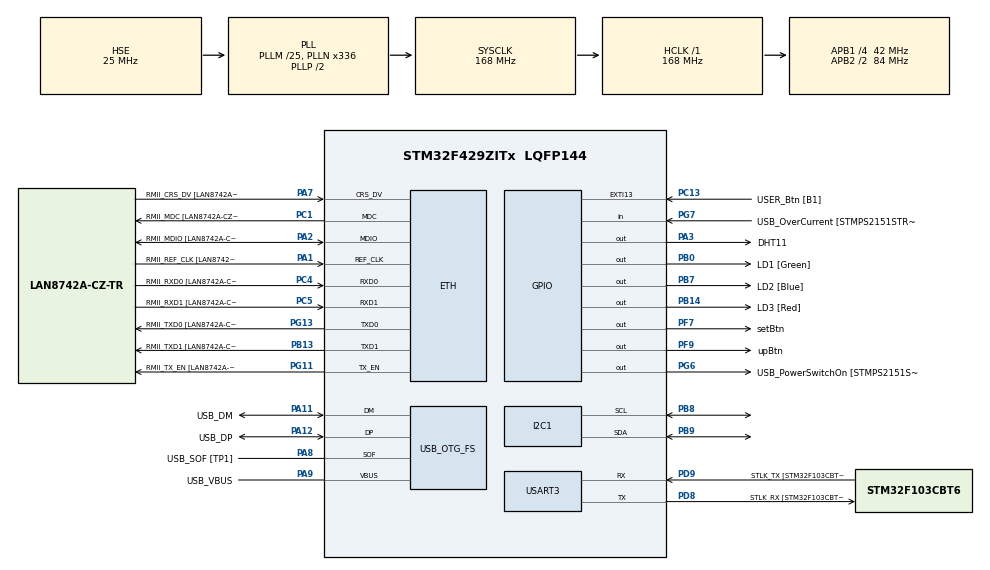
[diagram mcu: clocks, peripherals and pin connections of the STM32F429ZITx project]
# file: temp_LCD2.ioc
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ETH.MediaInterface=HAL_ETH_RMII_MODE
ETH.PHY_Name=LAN8742A_PHY_ADDRESS
ETH.PHY_Value=0
ETH.PhyAddress=0
Mcu.Family=STM32F4
Mcu.Name=STM32F429ZITx
Mcu.Package=LQFP144
NVIC.PriorityGroup=NVIC_PRIORITYGROUP_4
PA1.GPIO_Label=RMII_REF_CLK [LAN8742A-CZ-TR_REFCLK0]
PA1.Mode=RMII
PA1.Signal=ETH_REF_CLK
PA10.GPIO_Label=USB_ID
PA10.Signal=USB_OTG_FS_ID
PA11.GPIO_Label=USB_DM
PA11.Mode=Device_Only
PA11.Signal=USB_OTG_FS_DM
PA12.GPIO_Label=USB_DP
PA12.Mode=Device_Only
PA12.Signal=USB_OTG_FS_DP
PA13.GPIO_Label=TMS
PA13.Mode=Serial_Wire
PA13.Signal=SYS_JTMS-SWDIO
PA14.GPIO_Label=TCK
PA14.Mode=Serial_Wire
PA14.Signal=SYS_JTCK-SWCLK
PA2.GPIO_Label=RMII_MDIO [LAN8742A-CZ-TR_MDIO]
PA2.Mode=RMII
PA2.Signal=ETH_MDIO
PA3.GPIO_Label=DHT11
PA3.PinState=GPIO_PIN_RESET
PA3.Signal=GPIO_Output
PA7.GPIO_Label=RMII_CRS_DV [LAN8742A-CZ-TR_CRS_DV]
PA7.Mode=RMII
PA7.Signal=ETH_CRS_DV
PA8.GPIO_Label=USB_SOF [TP1]
PA8.Mode=Activate_SOF_FS
PA8.Signal=USB_OTG_FS_SOF
PA9.GPIO_Label=USB_VBUS
PA9.Mode=Activate_VBUS
PA9.Signal=USB_OTG_FS_VBUS
PB0.GPIO_Label=LD1 [Green]
PB0.Signal=GPIO_Output
PB13.GPIO_Label=RMII_TXD1 [LAN8742A-CZ-TR_TXD1]
PB13.Mode=RMII
PB13.Signal=ETH_TXD1
PB14.GPIO_Label=LD3 [Red]
PB14.Signal=GPIO_Output
PB7.GPIO_Label=LD2 [Blue]
PB7.Signal=GPIO_Output
PB8.Mode=I2C
PB8.Signal=I2C1_SCL
PB9.Mode=I2C
PB9.Signal=I2C1_SDA
PC1.GPIO_Label=RMII_MDC [LAN8742A-CZ-TR_MDC]
PC1.Mode=RMII
PC1.Signal=ETH_MDC
PC13.GPIO_Label=USER_Btn [B1]
PC13.Signal=GPXTI13
PC14/OSC32_IN.Mode=LSE-External-Oscillator
PC14/OSC32_IN.Signal=RCC_OSC32_IN
PC15/OSC32_OUT.Mode=LSE-External-Oscillator
PC15/OSC32_OUT.Signal=RCC_OSC32_OUT
PC4.GPIO_Label=RMII_RXD0 [LAN8742A-CZ-TR_RXD0]
PC4.Mode=RMII
PC4.Signal=ETH_RXD0
PC5.GPIO_Label=RMII_RXD1 [LAN8742A-CZ-TR_RXD1]
PC5.Mode=RMII
PC5.Signal=ETH_RXD1
PD8.GPIO_Label=STLK_RX [STM32F103CBT6_PA3]
PD8.Mode=Asynchronous
PD8.Signal=USART3_TX
PD9.GPIO_Label=STLK_TX [STM32F103CBT6_PA2]
PD9.Mode=Asynchronous
PD9.Signal=USART3_RX
PF7.GPIO_Label=setBtn
PF7.GPIO_PuPd=GPIO_PULLUP
PF7.Signal=GPIO_Output
PF9.GPIO_Label=upBtn
PF9.GPIO_PuPd=GPIO_PULLUP
PF9.Signal=GPIO_Output
PG11.GPIO_Label=RMII_TX_EN [LAN8742A-CZ-TR_TXEN]
PG11.Mode=RMII
PG11.Signal=ETH_TX_EN
PG13.GPIO_Label=RMII_TXD0 [LAN8742A-CZ-TR_TXD0]
PG13.Mode=RMII
PG13.Signal=ETH_TXD0
PG6.GPIO_Label=USB_PowerSwitchOn [STMPS2151STR_EN]
PG6.Signal=GPIO_Output
PG7.GPIO_Label=USB_OverCurrent [STMPS2151STR_FAULT]
PG7.Signal=GPIO_Input
PH0/OSC_IN.GPIO_Label=MCO [STM32F103CBT6_PA8]
PH0/OSC_IN.Mode=HSE-External-Clock-Source
PH0/OSC_IN.Signal=RCC_OSC_IN
PH1/OSC_OUT.Mode=HSE-External-Clock-Source
PH1/OSC_OUT.Signal=RCC_OSC_OUT
ProjectManager.HeapSize=0x200
ProjectManager.StackSize=0x400
ProjectManager.TargetToolchain=STM32CubeIDE
RCC.48MHZClocksFreq_Value=48000000
RCC.AHBFreq_Value=168000000
RCC.APB1CLKDivider=RCC_HCLK_DIV4
RCC.APB1Freq_Value=42000000
RCC.APB1TimFreq_Value=84000000
RCC.APB2CLKDivider=RCC_HCLK_DIV2
RCC.APB2Freq_Value=84000000
RCC.APB2TimCLKDivider=2
RCC.APB2TimFreq_Value=168000000
RCC.CortexFreq_Value=168000000
RCC.HCLKFreq_Value=168000000
RCC.HSE_VALUE=25000000
RCC.HSI_VALUE=16000000
RCC.PLLM=25
RCC.PLLMUL=RCC_PLL_MUL9
RCC.PLLN=336
RCC.PLLQ=7
RCC.PRESCALERUSB=RCC_USBCLKSOURCE_PLL_DIV1_5
RCC.RCC_RTC_Clock_Source=RCC_RTCCLKSOURCE_LSE
RCC.RCC_RTC_Clock_SourceVirtual=RCC_RTCCLKSOURCE_LSE
RCC.SYSCLKFreq_VALUE=168000000
RCC.SYSCLKSource=RCC_SYSCLKSOURCE_PLLCLK
RCC.SYSCLKSourceVirtual=RCC_SYSCLKSOURCE_PLLCLK
RCC.USBFreq_Value=48000000
RCC.VCOOutputFreq_Value=336000000
RTC.HourFormat=RTC_HOURFORMAT_12
RTC.Hours=12
RTC.TimeFormat=RTC_HOURFORMAT12_PM
RTC.Year=23
TIM1.Period=0xffff-1
TIM1.Prescaler=168-1
USART3.VirtualMode=VM_ASYNC
USB_OTG_FS.VirtualMode=Device_Only
VP_RTC_VS_RTC_Activate.Mode=RTC_Enabled
VP_RTC_VS_RTC_Calendar.Mode=RTC_Calendar
VP_TIM1_VS_ClockSourceINT.Mode=Internal
board=NUCLEO-F429ZI

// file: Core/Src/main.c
/* USER CODE BEGIN Header */
/**
 ******************************************************************************
 * @file           : main.c
 * @brief          : Main program body
 ******************************************************************************
 * @attention
 *
 * Copyright (c) 2023 STMicroelectronics.
 * All rights reserved.
 *
 * This software is licensed under terms that can be found in the LICENSE file
 * in the root directory of this software component.
 * If no LICENSE file comes with this software, it is provided AS-IS.
 *
 ******************************************************************************
 */
/* USER CODE END Header */
#include "main.h"
#include "string.h"

/* USER CODE BEGIN Includes */
#include "stdio.h"
/* USER CODE END Includes */

/* USER CODE BEGIN PD */
#define LCD_ADDR (0x27 << 1)
/* USER CODE END PD */

ETH_TxPacketConfig TxConfig;
ETH_DMADescTypeDef  DMARxDscrTab[ETH_RX_DESC_CNT]; /* Ethernet Rx DMA Descriptors */
ETH_DMADescTypeDef  DMATxDscrTab[ETH_TX_DESC_CNT]; /* Ethernet Tx DMA Descriptors */

ETH_HandleTypeDef heth;

I2C_HandleTypeDef hi2c1;

RTC_HandleTypeDef hrtc;

TIM_HandleTypeDef htim1;

UART_HandleTypeDef huart3;

PCD_HandleTypeDef hpcd_USB_OTG_FS;

/* USER CODE BEGIN PV */
RTC_DateTypeDef sDate;
RTC_TimeTypeDef sTime;

extern void I2C_Scan(void);
void init();

/* USER CODE END PV */

void SystemClock_Config(void);
static void MX_GPIO_Init(void);
static void MX_ETH_Init(void);
static void MX_USART3_UART_Init(void);
static void MX_USB_OTG_FS_PCD_Init(void);
static void MX_I2C1_Init(void);
static void MX_TIM1_Init(void);
static void MX_RTC_Init(void);
/* USER CODE BEGIN PFP */
int _write(int file, char *ptr, int len) {
	HAL_UART_Transmit(&huart3, (uint8_t*) ptr, len, 500);

	return len;
}
int _io_putchar(int ch) {
	HAL_UART_Transmit(&huart3, (uint8_t*) &ch, 1, 1000);
	return ch;
}
/* USER CODE END PFP */

/* USER CODE BEGIN 0 */

char showTime[30] = {0};
char showDate[30] = {0};
char ampm[2][3] = {"AM", "PM"};

void get_time(void) {
	HAL_RTC_GetTime(&hrtc, &sTime, RTC_FORMAT_BIN);
	HAL_RTC_GetDate(&hrtc, &sDate, RTC_FORMAT_BIN);

	sprintf((char *)showTime, "%s %02d:%02d:%02d", ampm[sTime.TimeFormat], sTime.Hours, sTime.Minutes, sTime.Seconds);
	sprintf((char *)showDate, "%04d-%02d-%02d", 2000 + sDate.Year, sDate.Month, sDate.Date);
}

void LCD_Init(uint8_t lcd_addr);
void LCD_SendString(uint8_t lcd_addr, char *str);
void LCD_SendCommand(uint8_t lcd_addr, uint8_t cmd);

uint8_t Rh_byte1, Rh_byte2, Temp_byte1, Temp_byte2;
uint16_t SUM, RH, TEMP;

float Temperature = 0;
float Humidity = 0;
uint8_t Presence = 0;

void delay_us(uint16_t time) {
	__HAL_TIM_SET_COUNTER(&htim1, 0);           // ????��?��?��?��몌옙?? 0??��?��?��?��????????? ?��?���????????��?��?��
	while ((__HAL_TIM_GET_COUNTER(&htim1)) < time);   // ??��?��?��??��?��?��??��?��?�� ??��?��?��媛꾧?��?��????????? ???��?????????
}
void Set_Pin_Output(GPIO_TypeDef *GPIOx, uint16_t GPIO_Pin) {
	GPIO_InitTypeDef GPIO_InitStruct = { 0 };
	GPIO_InitStruct.Pin = GPIO_Pin;
	GPIO_InitStruct.Mode = GPIO_MODE_OUTPUT_PP;
	GPIO_InitStruct.Speed = GPIO_SPEED_FREQ_LOW;
	HAL_GPIO_Init(GPIOx, &GPIO_InitStruct);
}

void Set_Pin_Input(GPIO_TypeDef *GPIOx, uint16_t GPIO_Pin) {
	GPIO_InitTypeDef GPIO_InitStruct = { 0 };
	GPIO_InitStruct.Pin = GPIO_Pin;
	GPIO_InitStruct.Mode = GPIO_MODE_INPUT;
	GPIO_InitStruct.Pull = GPIO_PULLUP;
	HAL_GPIO_Init(GPIOx, &GPIO_InitStruct);
}
void DHT11_Start(void) {
	Set_Pin_Output(DHT11_GPIO_Port, DHT11_Pin);  // set the pin as output
	HAL_GPIO_WritePin(DHT11_GPIO_Port, DHT11_Pin, 0);   // pull the pin low
	delay_us(18000);   // wait for 18ms
	Set_Pin_Input(DHT11_GPIO_Port, DHT11_Pin);    // set as input
}
uint8_t DHT11_Check_Response(void) {
	uint8_t Response = 0;
	delay_us(40);
	if (!(HAL_GPIO_ReadPin(DHT11_GPIO_Port, DHT11_Pin))) {
		delay_us(80);
		if ((HAL_GPIO_ReadPin(DHT11_GPIO_Port, DHT11_Pin)))
			Response = 1;
		else
			Response = -1;
	}
	while ((HAL_GPIO_ReadPin(DHT11_GPIO_Port, DHT11_Pin)))
		;   // wait for the pin to go low

	return Response;
}
uint8_t DHT11_Read(void) {
	uint8_t i, j;
	for (j = 0; j < 8; j++) {
		while (!(HAL_GPIO_ReadPin(DHT11_GPIO_Port, DHT11_Pin)))
			;   // wait for the pin to go high
		delay_us(40);   // wait for 40 us
		if (!(HAL_GPIO_ReadPin(DHT11_GPIO_Port, DHT11_Pin))) // if the pin is low
		{
			i &= ~(1 << (7 - j));   // write 0
		} else
			i |= (1 << (7 - j));  // if the pin is high, write 1
		while ((HAL_GPIO_ReadPin(DHT11_GPIO_Port, DHT11_Pin)))
			;  // wait for the pin to go low
	}
	return i;
}

/* USER CODE END 0 */

int main(void)
{

  /* MCU Configuration--------------------------------------------------------*/

  /* Reset of all peripherals, Initializes the Flash interface and the Systick. */
  HAL_Init();

  /* Configure the system clock */
  SystemClock_Config();

  /* Initialize all configured peripherals */
  MX_GPIO_Init();
  MX_ETH_Init();
  MX_USART3_UART_Init();
  MX_USB_OTG_FS_PCD_Init();
  MX_I2C1_Init();
  MX_TIM1_Init();
  MX_RTC_Init();
  /* USER CODE BEGIN 2 */
  printf("Test\r\n");

	HAL_TIM_Base_Start(&htim1);

	init();

	int setmode = 0;

	uint32_t current_tick_1;
	uint32_t current_tick_2;
	uint32_t old_tick_1;
	uint32_t old_tick_2;

	void setModeCheck(int n) {
		if (n == 1) {
			HAL_GPIO_WritePin(GPIOB, LD1_Pin, 1);
			HAL_GPIO_WritePin(GPIOB, LD2_Pin, 0);
			HAL_GPIO_WritePin(GPIOB, LD3_Pin, 0);
		}
		else if (n == 2) {
			HAL_GPIO_WritePin(GPIOB, LD1_Pin, 0);
			HAL_GPIO_WritePin(GPIOB, LD2_Pin, 1);
			HAL_GPIO_WritePin(GPIOB, LD3_Pin, 0);
		}
		else if (n == 3) {
			HAL_GPIO_WritePin(GPIOB, LD1_Pin, 0);
			HAL_GPIO_WritePin(GPIOB, LD2_Pin, 0);
			HAL_GPIO_WritePin(GPIOB, LD3_Pin, 1);
		}
		else {
			HAL_GPIO_WritePin(GPIOB, LD3_Pin, 0);
		}
	}

  /* USER CODE END 2 */

  /* Infinite loop */
  /* USER CODE BEGIN WHILE */
//	while (1) {
//
    /* USER CODE END WHILE */

    /* USER CODE BEGIN 3 */

	while (1) {

			DHT11_Start();
			Presence = DHT11_Check_Response();
			Rh_byte1 = DHT11_Read();
			Rh_byte2 = DHT11_Read();
			Temp_byte1 = DHT11_Read();
			Temp_byte2 = DHT11_Read();
			SUM = DHT11_Read();

			TEMP = Temp_byte1;
			RH = Rh_byte1;

			Temperature = (float) TEMP;
			Humidity = (float) RH;

			char line1[60];
			char line2[60];

			char temperString[30];
			char humidStirng[30];

			sprintf(temperString, " %.1fC", Temperature);
			sprintf(humidStirng, "%.1f%%", Humidity);

			printf("%.2f, %.2f", Temperature, Humidity);
			printf("\r\n");
			HAL_Delay(500);

		  HAL_GPIO_WritePin(GPIOB, LD1_Pin|LD3_Pin|LD2_Pin, 1);
		  delay_us(10);
		  HAL_GPIO_WritePin(GPIOB, LD1_Pin|LD3_Pin|LD2_Pin, 0);
		  delay_us(10);

//			LCD_SendCommand(LCD_ADDR, 0b10000000);
//			LCD_SendString(LCD_ADDR, temperString);
//
//			LCD_SendCommand(LCD_ADDR, 0b11000000);
//			LCD_SendString(LCD_ADDR, humidStirng);

			setModeCheck(setmode);
			get_time();

			sprintf(line1, "%s %s", showDate, temperString);
			sprintf(line2, "%s %s", showTime, humidStirng);

			// set address to 0x00
			LCD_SendCommand(LCD_ADDR, 0b10000000);
			LCD_SendString(LCD_ADDR, line1);
//			LCD_SendString(LCD_ADDR, showDate + temperString);

			// set address to 0x40
			LCD_SendCommand(LCD_ADDR, 0b11000000);
			LCD_SendString(LCD_ADDR, line2);
//			LCD_SendString(LCD_ADDR, showTime + humidStirng);

			if (HAL_GPIO_ReadPin(GPIOF, setBtn_Pin) == 0) {
				current_tick_1 = HAL_GetTick();
			}
			if (HAL_GPIO_ReadPin(GPIOF, upBtn_Pin) == 0) {
				current_tick_2 = HAL_GetTick();
			}

			if (HAL_GPIO_ReadPin(GPIOF, setBtn_Pin) == 0 && (current_tick_1 - old_tick_1 > 300) ) {
				  setmode++;
				  if (setmode == 4) setmode = 0;
				  old_tick_1 = current_tick_1;
			}

			if (setmode == 0) {
//				HAL_Delay(490);
			}
			else if (HAL_GPIO_ReadPin(GPIOF, upBtn_Pin) == 0 && (current_tick_2 - old_tick_2 > 300)) {
				if (setmode == 1) sTime.Hours = (sTime.Hours + 1) % 13;
				if (setmode == 2) sTime.Minutes = (sTime.Minutes + 1) % 60;
				if (setmode == 3) sTime.Seconds = (sTime.Seconds + 1) % 60;

				HAL_RTC_SetTime(&hrtc, &sTime, RTC_FORMAT_BIN);
				old_tick_2 = current_tick_2;
		   }
	}

  /* USER CODE END 3 */
}

void SystemClock_Config(void)
{
  RCC_OscInitTypeDef RCC_OscInitStruct = {0};
  RCC_ClkInitTypeDef RCC_ClkInitStruct = {0};

  /** Configure the main internal regulator output voltage
  */
  __HAL_RCC_PWR_CLK_ENABLE();
  __HAL_PWR_VOLTAGESCALING_CONFIG(PWR_REGULATOR_VOLTAGE_SCALE1);

  /** Initializes the RCC Oscillators according to the specified parameters
  * in the RCC_OscInitTypeDef structure.
  */
  RCC_OscInitStruct.OscillatorType = RCC_OSCILLATORTYPE_HSE|RCC_OSCILLATORTYPE_LSE;
  RCC_OscInitStruct.HSEState = RCC_HSE_BYPASS;
  RCC_OscInitStruct.LSEState = RCC_LSE_ON;
  RCC_OscInitStruct.PLL.PLLState = RCC_PLL_ON;
  RCC_OscInitStruct.PLL.PLLSource = RCC_PLLSOURCE_HSE;
  RCC_OscInitStruct.PLL.PLLM = 25;
  RCC_OscInitStruct.PLL.PLLN = 336;
  RCC_OscInitStruct.PLL.PLLP = RCC_PLLP_DIV2;
  RCC_OscInitStruct.PLL.PLLQ = 7;
  if (HAL_RCC_OscConfig(&RCC_OscInitStruct) != HAL_OK)
  {
    Error_Handler();
  }

  /** Initializes the CPU, AHB and APB buses clocks
  */
  RCC_ClkInitStruct.ClockType = RCC_CLOCKTYPE_HCLK|RCC_CLOCKTYPE_SYSCLK
                              |RCC_CLOCKTYPE_PCLK1|RCC_CLOCKTYPE_PCLK2;
  RCC_ClkInitStruct.SYSCLKSource = RCC_SYSCLKSOURCE_PLLCLK;
  RCC_ClkInitStruct.AHBCLKDivider = RCC_SYSCLK_DIV1;
  RCC_ClkInitStruct.APB1CLKDivider = RCC_HCLK_DIV4;
  RCC_ClkInitStruct.APB2CLKDivider = RCC_HCLK_DIV2;

  if (HAL_RCC_ClockConfig(&RCC_ClkInitStruct, FLASH_LATENCY_5) != HAL_OK)
  {
    Error_Handler();
  }
}

static void MX_ETH_Init(void)
{

   static uint8_t MACAddr[6];

  heth.Instance = ETH;
  MACAddr[0] = 0x00;
  MACAddr[1] = 0x80;
  MACAddr[2] = 0xE1;
  MACAddr[3] = 0x00;
  MACAddr[4] = 0x00;
  MACAddr[5] = 0x00;
  heth.Init.MACAddr = &MACAddr[0];
  heth.Init.MediaInterface = HAL_ETH_RMII_MODE;
  heth.Init.TxDesc = DMATxDscrTab;
  heth.Init.RxDesc = DMARxDscrTab;
  heth.Init.RxBuffLen = 1524;

  if (HAL_ETH_Init(&heth) != HAL_OK)
  {
    Error_Handler();
  }

  memset(&TxConfig, 0 , sizeof(ETH_TxPacketConfig));
  TxConfig.Attributes = ETH_TX_PACKETS_FEATURES_CSUM | ETH_TX_PACKETS_FEATURES_CRCPAD;
  TxConfig.ChecksumCtrl = ETH_CHECKSUM_IPHDR_PAYLOAD_INSERT_PHDR_CALC;
  TxConfig.CRCPadCtrl = ETH_CRC_PAD_INSERT;

}

static void MX_I2C1_Init(void)
{

  hi2c1.Instance = I2C1;
  hi2c1.Init.ClockSpeed = 100000;
  hi2c1.Init.DutyCycle = I2C_DUTYCYCLE_2;
  hi2c1.Init.OwnAddress1 = 0;
  hi2c1.Init.AddressingMode = I2C_ADDRESSINGMODE_7BIT;
  hi2c1.Init.DualAddressMode = I2C_DUALADDRESS_DISABLE;
  hi2c1.Init.OwnAddress2 = 0;
  hi2c1.Init.GeneralCallMode = I2C_GENERALCALL_DISABLE;
  hi2c1.Init.NoStretchMode = I2C_NOSTRETCH_DISABLE;
  if (HAL_I2C_Init(&hi2c1) != HAL_OK)
  {
    Error_Handler();
  }

  /** Configure Analogue filter
  */
  if (HAL_I2CEx_ConfigAnalogFilter(&hi2c1, I2C_ANALOGFILTER_ENABLE) != HAL_OK)
  {
    Error_Handler();
  }

  /** Configure Digital filter
  */
  if (HAL_I2CEx_ConfigDigitalFilter(&hi2c1, 0) != HAL_OK)
  {
    Error_Handler();
  }

}

static void MX_RTC_Init(void)
{

  RTC_TimeTypeDef sTime = {0};
  RTC_DateTypeDef sDate = {0};

  /** Initialize RTC Only
  */
  hrtc.Instance = RTC;
  hrtc.Init.HourFormat = RTC_HOURFORMAT_12;
  hrtc.Init.AsynchPrediv = 127;
  hrtc.Init.SynchPrediv = 255;
  hrtc.Init.OutPut = RTC_OUTPUT_DISABLE;
  hrtc.Init.OutPutPolarity = RTC_OUTPUT_POLARITY_HIGH;
  hrtc.Init.OutPutType = RTC_OUTPUT_TYPE_OPENDRAIN;
  if (HAL_RTC_Init(&hrtc) != HAL_OK)
  {
    Error_Handler();
  }

  /** Initialize RTC and set the Time and Date
  */
  sTime.Hours = 0x12;
  sTime.Minutes = 0x0;
  sTime.Seconds = 0x0;
  sTime.TimeFormat = RTC_HOURFORMAT12_PM;
  sTime.DayLightSaving = RTC_DAYLIGHTSAVING_NONE;
  sTime.StoreOperation = RTC_STOREOPERATION_RESET;
  if (HAL_RTC_SetTime(&hrtc, &sTime, RTC_FORMAT_BCD) != HAL_OK)
  {
    Error_Handler();
  }
  sDate.WeekDay = RTC_WEEKDAY_MONDAY;
  sDate.Month = RTC_MONTH_JANUARY;
  sDate.Date = 0x1;
  sDate.Year = 0x23;

  if (HAL_RTC_SetDate(&hrtc, &sDate, RTC_FORMAT_BCD) != HAL_OK)
  {
    Error_Handler();
  }

}

static void MX_TIM1_Init(void)
{

  TIM_ClockConfigTypeDef sClockSourceConfig = {0};
  TIM_MasterConfigTypeDef sMasterConfig = {0};

  htim1.Instance = TIM1;
  htim1.Init.Prescaler = 168-1;
  htim1.Init.CounterMode = TIM_COUNTERMODE_UP;
  htim1.Init.Period = 0xffff-1;
  htim1.Init.ClockDivision = TIM_CLOCKDIVISION_DIV1;
  htim1.Init.RepetitionCounter = 0;
  htim1.Init.AutoReloadPreload = TIM_AUTORELOAD_PRELOAD_DISABLE;
  if (HAL_TIM_Base_Init(&htim1) != HAL_OK)
  {
    Error_Handler();
  }
  sClockSourceConfig.ClockSource = TIM_CLOCKSOURCE_INTERNAL;
  if (HAL_TIM_ConfigClockSource(&htim1, &sClockSourceConfig) != HAL_OK)
  {
    Error_Handler();
  }
  sMasterConfig.MasterOutputTrigger = TIM_TRGO_RESET;
  sMasterConfig.MasterSlaveMode = TIM_MASTERSLAVEMODE_DISABLE;
  if (HAL_TIMEx_MasterConfigSynchronization(&htim1, &sMasterConfig) != HAL_OK)
  {
    Error_Handler();
  }

}

static void MX_USART3_UART_Init(void)
{

  huart3.Instance = USART3;
  huart3.Init.BaudRate = 115200;
  huart3.Init.WordLength = UART_WORDLENGTH_8B;
  huart3.Init.StopBits = UART_STOPBITS_1;
  huart3.Init.Parity = UART_PARITY_NONE;
  huart3.Init.Mode = UART_MODE_TX_RX;
  huart3.Init.HwFlowCtl = UART_HWCONTROL_NONE;
  huart3.Init.OverSampling = UART_OVERSAMPLING_16;
  if (HAL_UART_Init(&huart3) != HAL_OK)
  {
    Error_Handler();
  }

}

static void MX_USB_OTG_FS_PCD_Init(void)
{

  hpcd_USB_OTG_FS.Instance = USB_OTG_FS;
  hpcd_USB_OTG_FS.Init.dev_endpoints = 4;
  hpcd_USB_OTG_FS.Init.speed = PCD_SPEED_FULL;
  hpcd_USB_OTG_FS.Init.dma_enable = DISABLE;
  hpcd_USB_OTG_FS.Init.phy_itface = PCD_PHY_EMBEDDED;
  hpcd_USB_OTG_FS.Init.Sof_enable = ENABLE;
  hpcd_USB_OTG_FS.Init.low_power_enable = DISABLE;
  hpcd_USB_OTG_FS.Init.lpm_enable = DISABLE;
  hpcd_USB_OTG_FS.Init.vbus_sensing_enable = ENABLE;
  hpcd_USB_OTG_FS.Init.use_dedicated_ep1 = DISABLE;
  if (HAL_PCD_Init(&hpcd_USB_OTG_FS) != HAL_OK)
  {
    Error_Handler();
  }

}

static void MX_GPIO_Init(void)
{
  GPIO_InitTypeDef GPIO_InitStruct = {0};

  /* GPIO Ports Clock Enable */
  __HAL_RCC_GPIOC_CLK_ENABLE();
  __HAL_RCC_GPIOF_CLK_ENABLE();
  __HAL_RCC_GPIOH_CLK_ENABLE();
  __HAL_RCC_GPIOA_CLK_ENABLE();
  __HAL_RCC_GPIOB_CLK_ENABLE();
  __HAL_RCC_GPIOD_CLK_ENABLE();
  __HAL_RCC_GPIOG_CLK_ENABLE();

  /*Configure GPIO pin Output Level */
  HAL_GPIO_WritePin(GPIOF, setBtn_Pin|upBtn_Pin, GPIO_PIN_RESET);

  /*Configure GPIO pin Output Level */
  HAL_GPIO_WritePin(DHT11_GPIO_Port, DHT11_Pin, GPIO_PIN_RESET);

  /*Configure GPIO pin Output Level */
  HAL_GPIO_WritePin(GPIOB, LD1_Pin|LD3_Pin|LD2_Pin, GPIO_PIN_RESET);

  /*Configure GPIO pin Output Level */
  HAL_GPIO_WritePin(USB_PowerSwitchOn_GPIO_Port, USB_PowerSwitchOn_Pin, GPIO_PIN_RESET);

  /*Configure GPIO pin : USER_Btn_Pin */
  GPIO_InitStruct.Pin = USER_Btn_Pin;
  GPIO_InitStruct.Mode = GPIO_MODE_IT_RISING;
  GPIO_InitStruct.Pull = GPIO_NOPULL;
  HAL_GPIO_Init(USER_Btn_GPIO_Port, &GPIO_InitStruct);

  /*Configure GPIO pins : setBtn_Pin upBtn_Pin */
  GPIO_InitStruct.Pin = setBtn_Pin|upBtn_Pin;
  GPIO_InitStruct.Mode = GPIO_MODE_OUTPUT_PP;
  GPIO_InitStruct.Pull = GPIO_PULLUP;
  GPIO_InitStruct.Speed = GPIO_SPEED_FREQ_LOW;
  HAL_GPIO_Init(GPIOF, &GPIO_InitStruct);

  /*Configure GPIO pin : DHT11_Pin */
  GPIO_InitStruct.Pin = DHT11_Pin;
  GPIO_InitStruct.Mode = GPIO_MODE_OUTPUT_PP;
  GPIO_InitStruct.Pull = GPIO_NOPULL;
  GPIO_InitStruct.Speed = GPIO_SPEED_FREQ_LOW;
  HAL_GPIO_Init(DHT11_GPIO_Port, &GPIO_InitStruct);

  /*Configure GPIO pins : LD1_Pin LD3_Pin LD2_Pin */
  GPIO_InitStruct.Pin = LD1_Pin|LD3_Pin|LD2_Pin;
  GPIO_InitStruct.Mode = GPIO_MODE_OUTPUT_PP;
  GPIO_InitStruct.Pull = GPIO_NOPULL;
  GPIO_InitStruct.Speed = GPIO_SPEED_FREQ_LOW;
  HAL_GPIO_Init(GPIOB, &GPIO_InitStruct);

  /*Configure GPIO pin : USB_PowerSwitchOn_Pin */
  GPIO_InitStruct.Pin = USB_PowerSwitchOn_Pin;
  GPIO_InitStruct.Mode = GPIO_MODE_OUTPUT_PP;
  GPIO_InitStruct.Pull = GPIO_NOPULL;
  GPIO_InitStruct.Speed = GPIO_SPEED_FREQ_LOW;
  HAL_GPIO_Init(USB_PowerSwitchOn_GPIO_Port, &GPIO_InitStruct);

  /*Configure GPIO pin : USB_OverCurrent_Pin */
  GPIO_InitStruct.Pin = USB_OverCurrent_Pin;
  GPIO_InitStruct.Mode = GPIO_MODE_INPUT;
  GPIO_InitStruct.Pull = GPIO_NOPULL;
  HAL_GPIO_Init(USB_OverCurrent_GPIO_Port, &GPIO_InitStruct);

}

/* USER CODE BEGIN 4 */
//void HAL_TIM_PeriodElapsedCallback(TIM_HandleTypeDef *htim) {
//	HAL_GPIO_TogglePin(GPIOB, LD1_Pin);
//	if (setmode != -1) setmode = -1;
//	else setmode = 0;
//}
/* USER CODE END 4 */

void Error_Handler(void)
{
	__disable_irq();
	while (1) {
	}
}
